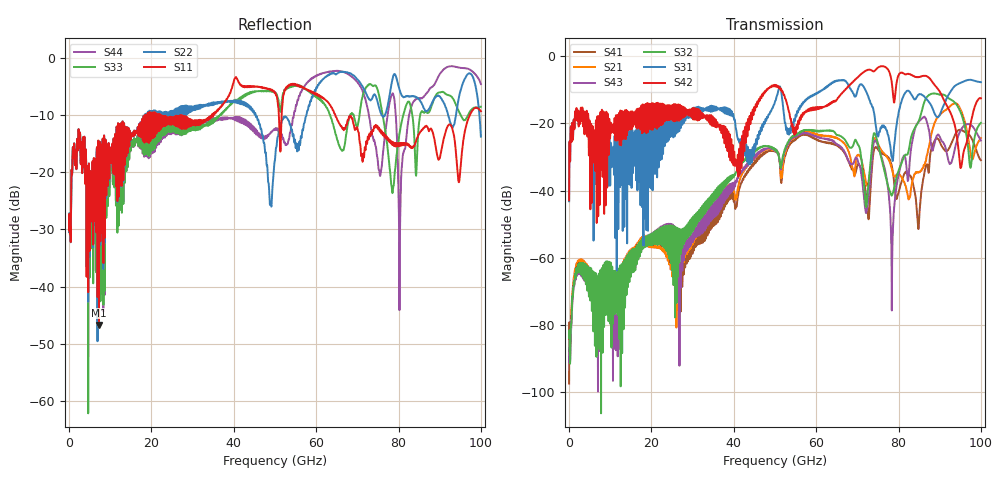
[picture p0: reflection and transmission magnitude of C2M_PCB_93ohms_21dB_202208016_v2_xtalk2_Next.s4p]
! Info: Touchstone file created by Circ.  Input file=Intel_C2M_200G_8p0in_202208016_staggered.circ
# Hz S RI R 50
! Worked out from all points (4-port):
!   10000 points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, 10 MHz to 100 GHz, reference 50 ohm
!   strongest paths, dB at 10 MHz, 25.01 GHz, 50.01 GHz, 75.01 GHz, 100 GHz:
!     S42: -42.9, -16.8, -8.6, -3.4, -12.5
!     S31: -43.2, -20.9, -13.4, -23.7, -7.7
!     S32: -81.7, -60.7, -27.7, -26.1, -19.8
!     S43: -89.6, -55.9, -27.9, -26.8, -25.1
!     S21: -83.0, -64.6, -27.9, -26.0, -24.4
!     S41: -97.5, -57.3, -28.2, -27.8, -30.9
!   lowest |S11| = -46.7 dB at 7.26 GHz (marker M1), VSWR 1.01, Z = 49.5 - j0.0714 ohm
!   |S11| at or under -10 dB: start of sweep to 18.45 GHz; 27.18 GHz to 34.68 GHz (7.506 GHz wide, 24.3 % of centre); 64.65 GHz to 97.34 GHz (32.7 GHz wide, 40.4 % of centre)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
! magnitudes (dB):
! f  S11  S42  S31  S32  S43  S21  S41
! 10 MHz  -30.2  -42.9  -43.2  -81.7  -89.6  -83.0  -97.5
! 7.26 GHz  -46.7  -17.8  -20.5  -65.2  -69.7  -66.8  -70.2
! 56.39 GHz  -5.1  -17.5  -14.7  -22.3  -22.9  -22.4  -23.2
! 74.52 GHz  -11.8  -3.9  -20.9  -23.8  -25.3  -24.7  -27.0
! 78.42 GHz  -15.0  -8.4  -30.1  -41.4  -65.2  -33.8  -33.1
! 85.13 GHz  -13.1  -6.2  -11.2  -18.6  -19.2  -34.5  -45.9
! 100 GHz  -9.3  -12.5  -7.7  -19.8  -25.1  -24.4  -30.9
